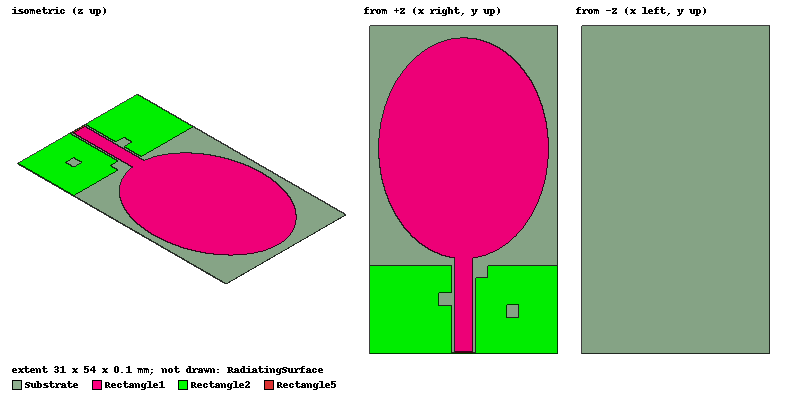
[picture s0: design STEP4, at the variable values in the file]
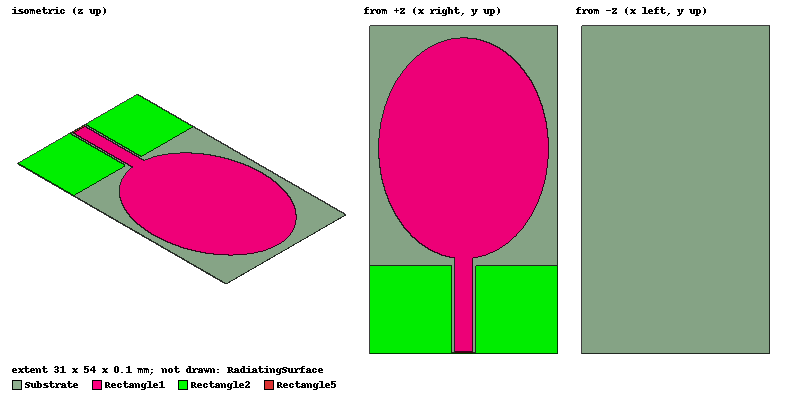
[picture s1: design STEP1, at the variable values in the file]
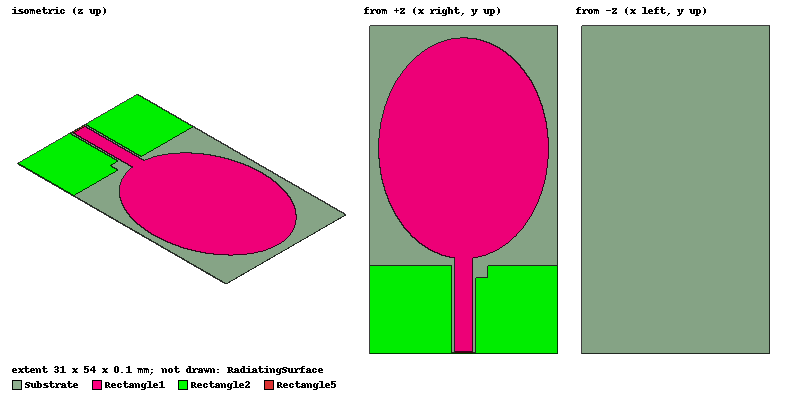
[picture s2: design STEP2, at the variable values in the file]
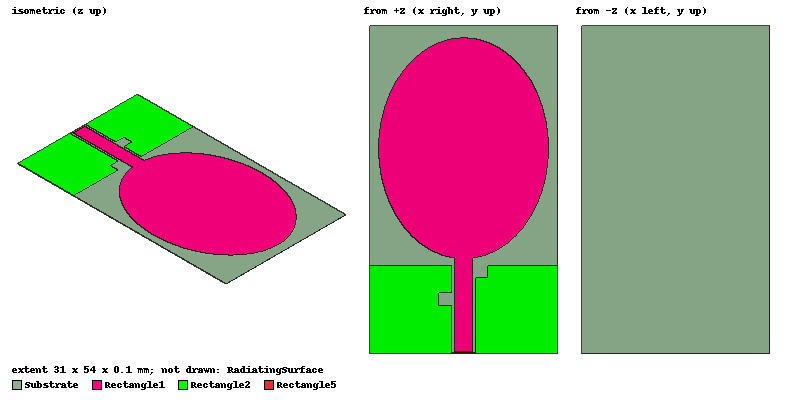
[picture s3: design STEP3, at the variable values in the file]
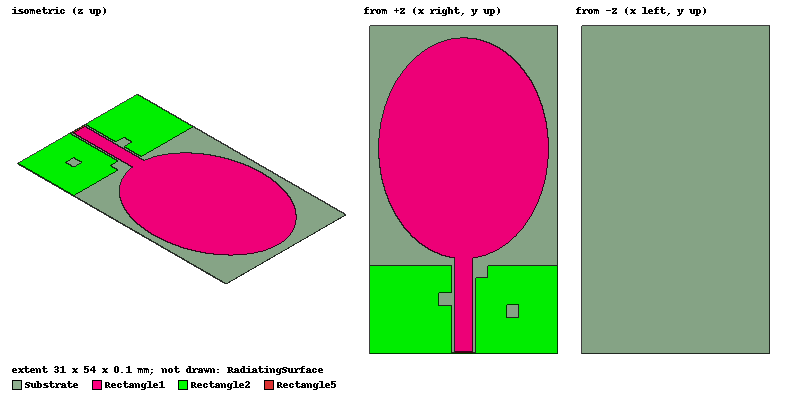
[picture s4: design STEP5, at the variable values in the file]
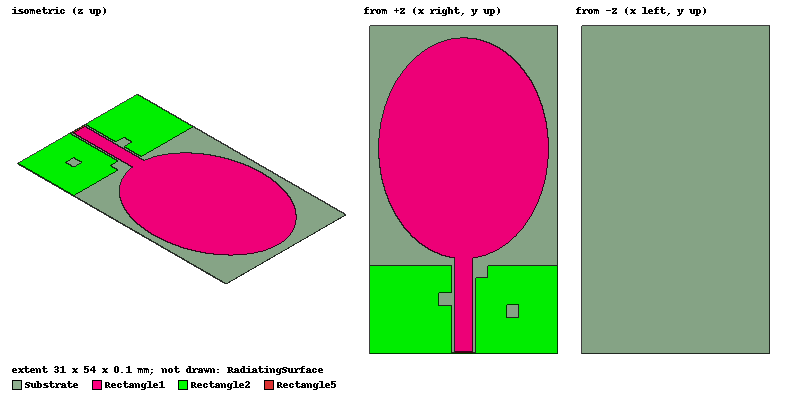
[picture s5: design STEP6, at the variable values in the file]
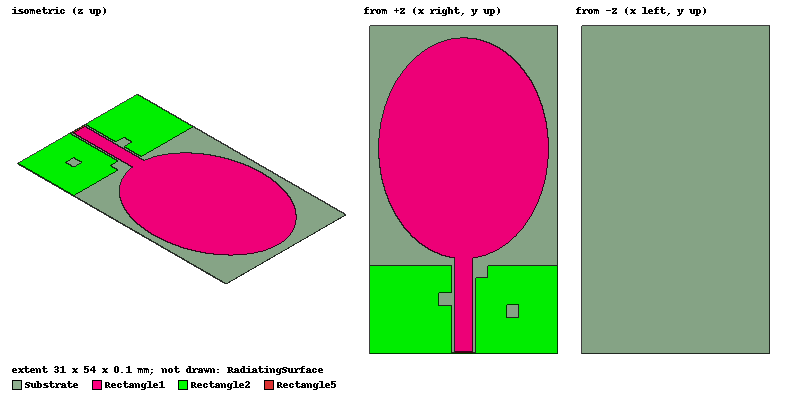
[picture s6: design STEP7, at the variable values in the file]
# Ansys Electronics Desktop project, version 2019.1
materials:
  polyamide: permittivity=4.3 dielectric_loss_tangent=0.004
  vacuum: permittivity=1

design STEP4 (HFSS, DrivenModal, model units mm)
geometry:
  Substrate [polyamide] = box(corner=(1.5mm, 0mm, 0mm), size=(31mm, 54mm, 0.1mm))
  Rectangle1 = rectangle(corner=(15.5mm, 0.4mm, 0.1mm), x_size=3mm, y_size=16.5mm)
  Ellipse1 = ellipse(normal=Z, centre=(17mm, 33.8mm, 0.1mm), major_radius=14mm, ratio=1.3, segments=100)
  Rectangle1.unite(Ellipse1)
  Rectangle2 = rectangle(corner=(1.5mm, 0mm, 0.1mm), x_size=13.5mm, y_size=14.5mm)
  Rectangle3 = rectangle(corner=(32.5mm, 0mm, 0.1mm), x_size=-13.5mm, y_size=14.5mm)
  Rectangle4 = rectangle(corner=(14.5mm, 0mm, 0.1mm), x_size=5mm, y_size=0.1mm)
  Rectangle2.unite(Rectangle3, Rectangle4)
  Rectangle5 = rectangle(corner=(15.5mm, 0.4mm, 0.1mm), x_size=3mm, y_size=-0.3mm)
  RadiatingSurface [vacuum] = region(absolute_offset=41.666667mm on all sides)
  Rectangle8 = rectangle(corner=(0mm, 60mm, 0.1mm), x_size=50mm, y_size=-1mm)
  Rectangle1.subtract(Rectangle8)
  Rectangle10 = rectangle(corner=(15mm, 10mm, 0.1mm), x_size=-2.1mm, y_size=-2.1mm)
  Rectangle11 = rectangle(corner=(19mm, 14.5mm, 0.1mm), x_size=2mm, y_size=-2mm)
  Rectangle2.subtract(Rectangle10, Rectangle11)
  Rectangle12 = rectangle(corner=(24mm, 6mm, 0.1mm), x_size=2.1mm, y_size=2.1mm)
  Rectangle2.subtract(Rectangle12)
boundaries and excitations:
  PerfE1: Perfect E Objects=Rectangle1
  PerfE2: Perfect E Objects=Rectangle2
  Open1: Radiation Objects=RadiatingSurface
  1: Lumped Port Objects=Rectangle5 Modes{Mode1{IntLine{middle of Rectangle5.edge(y opposite corner) -> middle of Rectangle5.edge(y at corner)} CharImp=Zpi RenormImp=50ohm}} Impedance=50ohm
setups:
  Setup1: HfssDriven Frequency=5.8GHz MaxDeltaS=0.1 MaximumPasses=20 MinimumPasses=1 MinimumConvergedPasses=1 PercentRefinement=30 BasisOrder=1 PortAccuracy=2
    sweep Sweep: 1GHz to 15GHz, 451 points; Type=Fast SaveFields
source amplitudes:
  1:1: 1W 0deg
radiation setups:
  Infinite Sphere1: Infinite Sphere Theta=-180deg..180deg step 2deg Phi=0deg..360deg step 2deg
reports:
  S Parameter Plot 1: dB(S(1,1)) vs Freq on Setup1 : Sweep; dB(S(1,1)), dB(S(1,1)), dB(S(1,1)) vs Freq
  Gain Plot 1: dB(GainTotal) vs Theta on Setup1 : Sweep, Infinite Sphere1 [Phi=0deg,90deg Freq=3.33333GHz]
  Gain Plot 2: dB(GainTotal) vs Theta on Setup1 : Sweep, Infinite Sphere1 [Phi=0deg,90deg Freq=5.60444GHz]
  Gain Plot 3: dB(GainTotal) vs Theta on Setup1 : Sweep, Infinite Sphere1 [Phi=0deg,90deg Freq=10.7067GHz]
  Gain Plot 4: dB(GainTotal) vs Theta on Setup1 : Sweep, Infinite Sphere1 [Phi=0deg,90deg Freq=13.0711GHz]
  Gain Plot 5: dB(GainPhi), dB(GainTheta) vs Theta on Setup1 : Sweep, Infinite Sphere1 [Phi=0deg Freq=3.30222GHz]
  Gain Plot 6: dB(GainPhi), dB(GainTheta) vs Theta on Setup1 : Sweep, Infinite Sphere1 [Phi=90deg Freq=3.30222GHz]
  Gain Plot 7: dB(GainPhi), dB(GainTheta) vs Theta on Setup1 : Sweep, Infinite Sphere1 [Phi=0deg Freq=5.60444GHz]
  Gain Plot 8: dB(GainPhi), dB(GainTheta) vs Theta on Setup1 : Sweep, Infinite Sphere1 [Phi=90deg Freq=5.60444GHz]
  Gain Plot 9: dB(GainPhi), dB(GainTheta) vs Theta on Setup1 : Sweep, Infinite Sphere1 [Phi=0deg Freq=10.7067GHz]
  Gain Plot 10: dB(GainPhi), dB(GainTheta) vs Theta on Setup1 : Sweep, Infinite Sphere1 [Phi=90deg Freq=10.7067GHz]
  Gain Plot 11: dB(GainPhi), dB(GainTheta) vs Theta on Setup1 : Sweep, Infinite Sphere1 [Phi=0deg Freq=13.0711GHz]
  Gain Plot 12: dB(GainPhi), dB(GainTheta) vs Theta on Setup1 : Sweep, Infinite Sphere1 [Phi=90deg Freq=13.0711GHz]
  Gain Plot 13: dB(GainTotal) vs Phi, Theta on Setup1 : LastAdaptive, Infinite Sphere1 [Freq=5.8GHz]

design STEP1 (HFSS, DrivenModal, model units mm)
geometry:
  Substrate [polyamide] = box(corner=(1.5mm, 0mm, 0mm), size=(31mm, 54mm, 0.1mm))
  Rectangle1 = rectangle(corner=(15.5mm, 0.4mm, 0.1mm), x_size=3mm, y_size=16.5mm)
  Ellipse1 = ellipse(normal=Z, centre=(17mm, 33.8mm, 0.1mm), major_radius=14mm, ratio=1.3, segments=100)
  Rectangle1.unite(Ellipse1)
  Rectangle2 = rectangle(corner=(1.5mm, 0mm, 0.1mm), x_size=13.5mm, y_size=14.5mm)
  Rectangle3 = rectangle(corner=(32.5mm, 0mm, 0.1mm), x_size=-13.5mm, y_size=14.5mm)
  Rectangle4 = rectangle(corner=(14.5mm, 0mm, 0.1mm), x_size=5mm, y_size=0.1mm)
  Rectangle2.unite(Rectangle3, Rectangle4)
  Rectangle5 = rectangle(corner=(15.5mm, 0.4mm, 0.1mm), x_size=3mm, y_size=-0.3mm)
  RadiatingSurface [vacuum] = region(absolute_offset=41.666667mm on all sides)
  Rectangle8 = rectangle(corner=(0mm, 60mm, 0.1mm), x_size=50mm, y_size=-1mm)
  Rectangle1.subtract(Rectangle8)
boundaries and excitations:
  PerfE1: Perfect E Objects=Rectangle1
  PerfE2: Perfect E Objects=Rectangle2
  Open1: Radiation Objects=RadiatingSurface
  1: Lumped Port Objects=Rectangle5 Modes{Mode1{IntLine{middle of Rectangle5.edge(y opposite corner) -> middle of Rectangle5.edge(y at corner)} CharImp=Zpi RenormImp=50ohm}} Impedance=50ohm
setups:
  Setup1: HfssDriven Frequency=5.8GHz MaxDeltaS=0.1 MaximumPasses=20 MinimumPasses=1 MinimumConvergedPasses=1 PercentRefinement=30 BasisOrder=1 PortAccuracy=2
    sweep Sweep: 1GHz to 15GHz, 451 points; Type=Fast SaveFields
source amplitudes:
  1:1: 1W 0deg
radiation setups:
  Infinite Sphere1: Infinite Sphere Theta=-180deg..180deg step 2deg Phi=0deg..360deg step 2deg
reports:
  S Parameter Plot 1: dB(S(1,1)) vs Freq on Setup1 : Sweep; markers MY1 at y=-10.1503

design STEP2 (HFSS, DrivenModal, model units mm)
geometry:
  Substrate [polyamide] = box(corner=(1.5mm, 0mm, 0mm), size=(31mm, 54mm, 0.1mm))
  Rectangle1 = rectangle(corner=(15.5mm, 0.4mm, 0.1mm), x_size=3mm, y_size=16.5mm)
  Ellipse1 = ellipse(normal=Z, centre=(17mm, 33.8mm, 0.1mm), major_radius=14mm, ratio=1.3, segments=100)
  Rectangle1.unite(Ellipse1)
  Rectangle2 = rectangle(corner=(1.5mm, 0mm, 0.1mm), x_size=13.5mm, y_size=14.5mm)
  Rectangle3 = rectangle(corner=(32.5mm, 0mm, 0.1mm), x_size=-13.5mm, y_size=14.5mm)
  Rectangle4 = rectangle(corner=(14.5mm, 0mm, 0.1mm), x_size=5mm, y_size=0.1mm)
  Rectangle2.unite(Rectangle3, Rectangle4)
  Rectangle5 = rectangle(corner=(15.5mm, 0.4mm, 0.1mm), x_size=3mm, y_size=-0.3mm)
  RadiatingSurface [vacuum] = region(absolute_offset=41.666667mm on all sides)
  Rectangle8 = rectangle(corner=(0mm, 60mm, 0.1mm), x_size=50mm, y_size=-1mm)
  Rectangle1.subtract(Rectangle8)
  Rectangle11 = rectangle(corner=(19mm, 14.5mm, 0.1mm), x_size=2mm, y_size=-2mm)
  Rectangle2.subtract(Rectangle11)
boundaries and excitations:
  PerfE1: Perfect E Objects=Rectangle1
  PerfE2: Perfect E Objects=Rectangle2
  Open1: Radiation Objects=RadiatingSurface
  1: Lumped Port Objects=Rectangle5 Modes{Mode1{IntLine{middle of Rectangle5.edge(y opposite corner) -> middle of Rectangle5.edge(y at corner)} CharImp=Zpi RenormImp=50ohm}} Impedance=50ohm
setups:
  Setup1: HfssDriven Frequency=5.8GHz MaxDeltaS=0.1 MaximumPasses=20 MinimumPasses=1 MinimumConvergedPasses=1 PercentRefinement=30 BasisOrder=1 PortAccuracy=2
    sweep Sweep: 1GHz to 15GHz, 451 points; Type=Fast SaveFields
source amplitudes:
  1:1: 1W 0deg
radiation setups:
  Infinite Sphere1: Infinite Sphere Theta=-180deg..180deg step 2deg Phi=0deg..360deg step 2deg
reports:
  S Parameter Plot 1: dB(S(1,1)) vs Freq on Setup1 : Sweep; markers MY1 at y=-10.3279

design STEP3 (HFSS, DrivenModal, model units mm)
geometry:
  Substrate [polyamide] = box(corner=(1.5mm, 0mm, 0mm), size=(31mm, 54mm, 0.1mm))
  Rectangle1 = rectangle(corner=(15.5mm, 0.4mm, 0.1mm), x_size=3mm, y_size=16.5mm)
  Ellipse1 = ellipse(normal=Z, centre=(17mm, 33.8mm, 0.1mm), major_radius=14mm, ratio=1.3, segments=100)
  Rectangle1.unite(Ellipse1)
  Rectangle2 = rectangle(corner=(1.5mm, 0mm, 0.1mm), x_size=13.5mm, y_size=14.5mm)
  Rectangle3 = rectangle(corner=(32.5mm, 0mm, 0.1mm), x_size=-13.5mm, y_size=14.5mm)
  Rectangle4 = rectangle(corner=(14.5mm, 0mm, 0.1mm), x_size=5mm, y_size=0.1mm)
  Rectangle2.unite(Rectangle3, Rectangle4)
  Rectangle5 = rectangle(corner=(15.5mm, 0.4mm, 0.1mm), x_size=3mm, y_size=-0.3mm)
  RadiatingSurface [vacuum] = region(absolute_offset=41.666667mm on all sides)
  Rectangle8 = rectangle(corner=(0mm, 60mm, 0.1mm), x_size=50mm, y_size=-1mm)
  Rectangle1.subtract(Rectangle8)
  Rectangle10 = rectangle(corner=(15mm, 10mm, 0.1mm), x_size=-2.1mm, y_size=-2.1mm)
  Rectangle11 = rectangle(corner=(19mm, 14.5mm, 0.1mm), x_size=2mm, y_size=-2mm)
  Rectangle2.subtract(Rectangle10, Rectangle11)
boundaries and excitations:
  PerfE1: Perfect E Objects=Rectangle1
  PerfE2: Perfect E Objects=Rectangle2
  Open1: Radiation Objects=RadiatingSurface
  1: Lumped Port Objects=Rectangle5 Modes{Mode1{IntLine{middle of Rectangle5.edge(y opposite corner) -> middle of Rectangle5.edge(y at corner)} CharImp=Zpi RenormImp=50ohm}} Impedance=50ohm
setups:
  Setup1: HfssDriven Frequency=5.8GHz MaxDeltaS=0.1 MaximumPasses=20 MinimumPasses=1 MinimumConvergedPasses=1 PercentRefinement=30 BasisOrder=1 PortAccuracy=2
    sweep Sweep: 1GHz to 15GHz, 451 points; Type=Fast SaveFields
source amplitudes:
  1:1: 1W 0deg
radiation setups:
  Infinite Sphere1: Infinite Sphere Theta=-180deg..180deg step 2deg Phi=0deg..360deg step 2deg
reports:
  S Parameter Plot 1: dB(S(1,1)) vs Freq on Setup1 : Sweep; markers MY1 at y=-9.9556

design STEP5 (HFSS, DrivenTerminal, model units mm)
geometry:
  Substrate [polyamide] = box(corner=(1.5mm, 0mm, 0mm), size=(31mm, 54mm, 0.1mm))
  Rectangle1 = rectangle(corner=(15.5mm, 0.4mm, 0.1mm), x_size=3mm, y_size=16.5mm)
  Ellipse1 = ellipse(normal=Z, centre=(17mm, 33.8mm, 0.1mm), major_radius=14mm, ratio=1.3, segments=100)
  Rectangle1.unite(Ellipse1)
  Rectangle2 = rectangle(corner=(1.5mm, 0mm, 0.1mm), x_size=13.5mm, y_size=14.5mm)
  Rectangle3 = rectangle(corner=(32.5mm, 0mm, 0.1mm), x_size=-13.5mm, y_size=14.5mm)
  Rectangle4 = rectangle(corner=(14.5mm, 0mm, 0.1mm), x_size=5mm, y_size=0.1mm)
  Rectangle2.unite(Rectangle3, Rectangle4)
  Rectangle5 = rectangle(corner=(15.5mm, 0.4mm, 0.1mm), x_size=3mm, y_size=-0.3mm)
  RadiatingSurface [vacuum] = region(absolute_offset=41.666667mm on all sides)
  Rectangle8 = rectangle(corner=(0mm, 60mm, 0.1mm), x_size=50mm, y_size=-1mm)
  Rectangle1.subtract(Rectangle8)
  Rectangle10 = rectangle(corner=(15mm, 10mm, 0.1mm), x_size=-2.1mm, y_size=-2.1mm)
  Rectangle11 = rectangle(corner=(19mm, 14.5mm, 0.1mm), x_size=2mm, y_size=-2mm)
  Rectangle2.subtract(Rectangle10, Rectangle11)
  Rectangle12 = rectangle(corner=(24mm, 6mm, 0.1mm), x_size=2.1mm, y_size=2.1mm)
  Rectangle2.subtract(Rectangle12)
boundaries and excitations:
  PerfE1: Perfect E Objects=Rectangle1
  PerfE2: Perfect E Objects=Rectangle2
  Open1: Radiation Objects=RadiatingSurface
  1: Lumped Port Objects=Rectangle5 Impedance=50ohm
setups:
  Setup1: HfssDriven Frequency=5.8GHz MaxDeltaS=0.1 MaximumPasses=20 MinimumPasses=1 MinimumConvergedPasses=1 PercentRefinement=30 BasisOrder=1 PortAccuracy=2
    sweep Sweep: 1GHz to 15GHz, 451 points; Type=Fast SaveFields
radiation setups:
  Infinite Sphere1: Infinite Sphere Theta=-180deg..180deg step 2deg Phi=0deg..360deg step 2deg
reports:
  S Parameter Plot 1: dB(S(1,1)) vs Freq on Setup1 : Sweep; dB(S(1,1)), dB(S(1,1)), dB(S(1,1)) vs Freq; markers MY1 at y=-22.5922
  Gain Plot 1: dB(GainTotal) vs Theta on Setup1 : Sweep, Infinite Sphere1 [Phi=0deg,90deg Freq=3.33333GHz]
  Gain Plot 2: dB(GainTotal) vs Theta on Setup1 : Sweep, Infinite Sphere1 [Phi=0deg,90deg Freq=5.60444GHz]
  Gain Plot 3: dB(GainTotal) vs Theta on Setup1 : Sweep, Infinite Sphere1 [Phi=0deg,90deg Freq=10.7067GHz]
  Gain Plot 4: dB(GainTotal) vs Theta on Setup1 : Sweep, Infinite Sphere1 [Phi=0deg,90deg Freq=13.0711GHz]
  Gain Plot 5: dB(GainPhi), dB(GainTheta) vs Theta on Setup1 : Sweep, Infinite Sphere1 [Phi=0deg Freq=3.30222GHz]
  Gain Plot 6: dB(GainPhi), dB(GainTheta) vs Theta on Setup1 : Sweep, Infinite Sphere1 [Phi=90deg Freq=3.30222GHz]
  Gain Plot 7: dB(GainPhi), dB(GainTheta) vs Theta on Setup1 : Sweep, Infinite Sphere1 [Phi=0deg Freq=5.60444GHz]
  Gain Plot 8: dB(GainPhi), dB(GainTheta) vs Theta on Setup1 : Sweep, Infinite Sphere1 [Phi=90deg Freq=5.60444GHz]
  Gain Plot 9: dB(GainPhi), dB(GainTheta) vs Theta on Setup1 : Sweep, Infinite Sphere1 [Phi=0deg Freq=10.7067GHz]
  Gain Plot 10: dB(GainPhi), dB(GainTheta) vs Theta on Setup1 : Sweep, Infinite Sphere1 [Phi=90deg Freq=10.7067GHz]
  Gain Plot 11: dB(GainPhi), dB(GainTheta) vs Theta on Setup1 : Sweep, Infinite Sphere1 [Phi=0deg Freq=13.0711GHz]
  Gain Plot 12: dB(GainPhi), dB(GainTheta) vs Theta on Setup1 : Sweep, Infinite Sphere1 [Phi=90deg Freq=13.0711GHz]
  Gain Plot 13: dB(GainTotal) vs Phi, Theta on Setup1 : LastAdaptive, Infinite Sphere1 [Freq=5.8GHz]
  Antenna Params Plot 1: FrontToBackRatio vs Freq on Setup1 : LastAdaptive
  rE Plot 1: rETotal vs Theta on Setup1 : Sweep, Infinite Sphere1 [Phi=all Freq=1GHz]

design STEP6 (HFSS, DrivenModal, model units mm)
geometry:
  Substrate [polyamide] = box(corner=(1.5mm, 0mm, 0mm), size=(31mm, 54mm, 0.1mm))
  Rectangle1 = rectangle(corner=(15.5mm, 0.4mm, 0.1mm), x_size=3mm, y_size=16.5mm)
  Ellipse1 = ellipse(normal=Z, centre=(17mm, 33.8mm, 0.1mm), major_radius=14mm, ratio=1.3, segments=100)
  Rectangle1.unite(Ellipse1)
  Rectangle2 = rectangle(corner=(1.5mm, 0mm, 0.1mm), x_size=13.5mm, y_size=14.5mm)
  Rectangle3 = rectangle(corner=(32.5mm, 0mm, 0.1mm), x_size=-13.5mm, y_size=14.5mm)
  Rectangle4 = rectangle(corner=(14.5mm, 0mm, 0.1mm), x_size=5mm, y_size=0.1mm)
  Rectangle2.unite(Rectangle3, Rectangle4)
  Rectangle5 = rectangle(corner=(15.5mm, 0.4mm, 0.1mm), x_size=3mm, y_size=-0.3mm)
  RadiatingSurface [vacuum] = region(absolute_offset=41.666667mm on all sides)
  Rectangle8 = rectangle(corner=(0mm, 60mm, 0.1mm), x_size=50mm, y_size=-1mm)
  Rectangle1.subtract(Rectangle8)
  Rectangle10 = rectangle(corner=(15mm, 10mm, 0.1mm), x_size=-2.1mm, y_size=-2.1mm)
  Rectangle11 = rectangle(corner=(19mm, 14.5mm, 0.1mm), x_size=2mm, y_size=-2mm)
  Rectangle2.subtract(Rectangle10, Rectangle11)
  Rectangle12 = rectangle(corner=(24mm, 6mm, 0.1mm), x_size=2.1mm, y_size=2.1mm)
  Rectangle2.subtract(Rectangle12)
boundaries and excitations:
  PerfE1: Perfect E Objects=Rectangle1
  PerfE2: Perfect E Objects=Rectangle2
  Open1: Radiation Objects=RadiatingSurface
  1: Lumped Port Objects=Rectangle5 Modes{Mode1{IntLine{middle of Rectangle5.edge(y opposite corner) -> middle of Rectangle5.edge(y at corner)} CharImp=Zpi RenormImp=50ohm}} Impedance=50ohm
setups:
  Setup1: HfssDriven Frequency=5.8GHz MaxDeltaS=0.1 MaximumPasses=20 MinimumPasses=1 MinimumConvergedPasses=1 PercentRefinement=30 BasisOrder=1 PortAccuracy=2
    sweep Sweep: 1GHz to 15GHz, 451 points; Type=Fast SaveFields
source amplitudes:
  1:1: 1W 0deg
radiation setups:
  Infinite Sphere1: Infinite Sphere Theta=-180deg..180deg step 2deg Phi=0deg..360deg step 2deg
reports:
  S Parameter Plot 1: dB(S(1,1)) vs Freq on Setup1 : Sweep; markers MY1 at y=-10.1844
  Gain Plot 1: dB(GainTotal) vs Theta on Setup1 : Sweep, Infinite Sphere1 [Phi=0deg,90deg Freq=3.33333GHz]
  Gain Plot 2: dB(GainTotal) vs Theta on Setup1 : Sweep, Infinite Sphere1 [Phi=0deg,90deg Freq=5.60444GHz]
  Gain Plot 13: dB(GainTotal) vs Phi, Theta on Setup1 : LastAdaptive, Infinite Sphere1 [Freq=5.8GHz]
  Gain Plot 14: dB(GainPhi), dB(GainTheta) vs Freq on Setup1 : Sweep, Infinite Sphere1 [Phi=0deg Theta=0deg]

design STEP7 (HFSS, DrivenModal, model units mm)
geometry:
  Substrate [polyamide] = box(corner=(1.5mm, 0mm, 0mm), size=(31mm, 54mm, 0.1mm))
  Rectangle1 = rectangle(corner=(15.5mm, 0.4mm, 0.1mm), x_size=3mm, y_size=16.5mm)
  Ellipse1 = ellipse(normal=Z, centre=(17mm, 33.8mm, 0.1mm), major_radius=14mm, ratio=1.3, segments=100)
  Rectangle1.unite(Ellipse1)
  Rectangle2 = rectangle(corner=(1.5mm, 0mm, 0.1mm), x_size=13.5mm, y_size=14.5mm)
  Rectangle3 = rectangle(corner=(32.5mm, 0mm, 0.1mm), x_size=-13.5mm, y_size=14.5mm)
  Rectangle4 = rectangle(corner=(14.5mm, 0mm, 0.1mm), x_size=5mm, y_size=0.1mm)
  Rectangle2.unite(Rectangle3, Rectangle4)
  Rectangle5 = rectangle(corner=(15.5mm, 0.4mm, 0.1mm), x_size=3mm, y_size=-0.3mm)
  RadiatingSurface [vacuum] = region(absolute_offset=41.666667mm on all sides)
  Rectangle8 = rectangle(corner=(0mm, 60mm, 0.1mm), x_size=50mm, y_size=-1mm)
  Rectangle1.subtract(Rectangle8)
  Rectangle10 = rectangle(corner=(15mm, 10mm, 0.1mm), x_size=-2.1mm, y_size=-2.1mm)
  Rectangle11 = rectangle(corner=(19mm, 14.5mm, 0.1mm), x_size=2mm, y_size=-2mm)
  Rectangle2.subtract(Rectangle10, Rectangle11)
  Rectangle12 = rectangle(corner=(24mm, 6mm, 0.1mm), x_size=2.1mm, y_size=2.1mm)
  Rectangle2.subtract(Rectangle12)
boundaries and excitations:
  PerfE1: Perfect E Objects=Rectangle1
  PerfE2: Perfect E Objects=Rectangle2
  Open1: Radiation Objects=RadiatingSurface
  1: Lumped Port Objects=Rectangle5 Modes{Mode1{IntLine{middle of Rectangle5.edge(y opposite corner) -> middle of Rectangle5.edge(y at corner)} CharImp=Zpi RenormImp=50ohm}} Impedance=50ohm
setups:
  Setup1: HfssDriven Frequency=5.8GHz MaxDeltaS=0.1 MaximumPasses=20 MinimumPasses=1 MinimumConvergedPasses=1 PercentRefinement=30 BasisOrder=1 PortAccuracy=2
    sweep Sweep: 1GHz to 15GHz, 451 points; Type=Fast SaveFields
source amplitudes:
  1:1: 1W 0deg
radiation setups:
  Infinite Sphere1: Infinite Sphere Theta=-180deg..180deg step 2deg Phi=0deg..360deg step 2deg
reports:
  S Parameter Plot 1: dB(S(1,1)) vs Freq on Setup1 : Sweep; markers MY1 at y=-22.5922
  Gain Plot 1: dB(GainPhi), dB(GainTheta) vs Freq on Setup1 : Sweep, Infinite Sphere1 [Phi=0deg Theta=0deg]
  Gain Plot 2: dB(GainTotal) vs Freq on Setup1 : Sweep, Infinite Sphere1 [Phi=0deg Theta=0deg]
